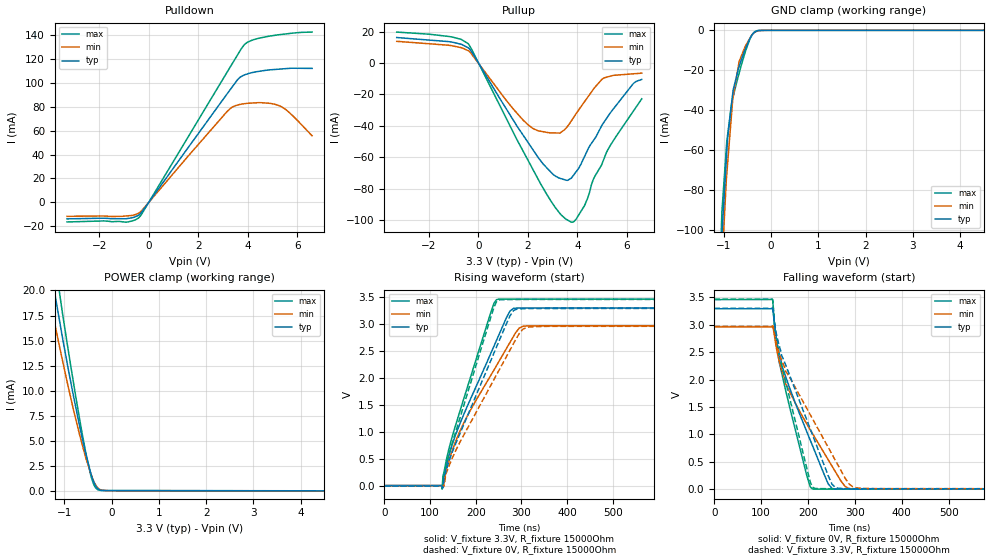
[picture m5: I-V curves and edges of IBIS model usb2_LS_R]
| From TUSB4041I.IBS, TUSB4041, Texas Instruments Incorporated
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|   USB 2.0 Low Speed mode, for DP/DM pin with Rfixture only 750KHz
[Model]   usb2_LS_R
Model_type   I/O
Polarity   Non-Inverting
Enable   Active-High
Vmeas = 1.32V
Vref = 0
Rref = 15000
Cref = 600pF
Vinl = 0.8V
Vinh = 2.0V
|   typ   min   max
|   (nom PVT)   (Fast PVT)   (slow PVT)
C_comp   9.3159pF   9.1524pF   9.4841pF
[Voltage Range]   3.3   2.97   3.465
[Temperature Range]   27   105   -40
[Pullup Reference]   3.3   2.97   3.465
[Pulldown Reference]   0   0   0
[Power Clamp Reference]   3.3   2.97   3.465
[GND Clamp Reference]   0   0   0
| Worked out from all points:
|   slope of the pulldown table from 0 to 0.495 V, typ, clamps not added: 34.7 ohm
|   slope of the pullup table from 0 to 0.495 V, typ, clamps not added: 38.2 ohm
|   GND clamp passes 1 mA (typ) near -0.35 V on its own axis
|   POWER clamp passes 1 mA (typ) near -0.38 V on its own axis
|   falling waveform, V_fixture 0V, R_fixture 15000Ohm: 20-80 % time 81.1ns typ, 101ns min, 53.1ns max; typ from 3.29 V to 0 V
|   rising waveform, V_fixture 3.3V, R_fixture 15000Ohm: 20-80 % time 97.7ns typ, 109ns min, 75.1ns max; typ from 0.008 V to 3.3 V
|   rising waveform, V_fixture 0V, R_fixture 15000Ohm: 20-80 % time 98.3ns typ, 113ns min, 74.9ns max; typ from 0 V to 3.29 V
|   falling waveform, V_fixture 3.3V, R_fixture 15000Ohm: 20-80 % time 86.3ns typ, 111ns min, 56.1ns max; typ from 3.3 V to 0.008 V
[Pulldown]
|   Voltage   I(typ)   I(min)   I(max)
-3.3V     -13.8mA    -11.67mA   -16.38mA
-1.818V   -13.22mA   -11.38mA   -15.5mA
-933.8mV  -13.69mA   -11.39mA   -16.56mA
-393.4mV  -10.5mA    -8.814mA   -12.71mA
3.144V    90.09mA    75.48mA    108.1mA
3.518V    100.7mA    80.99mA    120.9mA
3.716V    105mA      82.04mA    127.7mA
3.979V    107.4mA    82.87mA    133.8mA
4.553V    109.9mA    83.38mA    137.7mA
5.239V    111.4mA    81.15mA    140.2mA
5.684V    112.1mA    75.09mA    141.3mA
6.6V      112.1mA    55.7mA     142.4mA
[GND Clamp]
|   Voltage   I(typ)   I(min)   I(max)
-3.3V     -2.986A    -2.594A    -3.408A
-1.078V   -130.7mA   -136.1mA   -123.1mA
-1.035V   -101.8mA   -116.7mA   -90.38mA
-933.8mV  -60.8mA    -71.89mA   -55.6mA
-917.7mV  -54.32mA   -67.11mA   -52.63mA
-830mV    -36.19mA   -40.99mA   -36.44mA
-800mV    -30mA      -33.29mA   -33.41mA
-672.6mV  -18.05mA   -15.62mA   -21.44mA
-537.4mV  -9.128mA   -7.685mA   -10.37mA
-452.6mV  -4.449mA   -4.267mA   -4.821mA
-311.3mV  -500.4uA   -565.3uA   -312.4uA
6.6V      0A         0A         0A
[Pullup]
|   Voltage   I(typ)   I(min)   I(max)
-3.3V     16.19mA    13.77mA    19.64mA
-422.2mV  9.743mA    7.891mA    12.39mA
1.406V    -36.22mA   -29.18mA   -44.02mA
2.198V    -55mA      -41.55mA   -67.51mA
3.296V    -73.26mA   -44.5mA    -95.68mA
3.744V    -73.22mA   -37.02mA   -101mA
4.291V    -59.28mA   -24.5mA    -90.47mA
4.637V    -49.45mA   -16.86mA   -74.15mA
4.997V    -39.36mA   -10.25mA   -63.91mA
5.347V    -31.31mA   -8.288mA   -51.9mA
6.247V    -13.27mA   -6.876mA   -30.86mA
6.6V      -10.45mA   -6.447mA   -22.73mA
[POWER Clamp]
|   Voltage   I(typ)   I(min)   I(max)
-3.3V     96.14mA    80.42mA    114.3mA
-1.357V   24.07mA    20.31mA    28.32mA
-1.197V   19.63mA    16.62mA    22.94mA
-1.078V   16.4mA     13.92mA    19.06mA
-917.7mV  12.22mA    10.44mA    14.11mA
-762.7mV  8.497mA    7.289mA    9.602mA
-540.3mV  3.645mA    3.234mA    3.714mA
-422.2mV  1.516mA    1.529mA    1.289mA
-358.7mV  704.2uA    786.5uA    480.4uA
-291.5mV  239.5uA    302.9uA    123.9uA
-75.48mV  29.65uA    23.12uA    37.69uA
6.6V      0A         0A         0A
[Ramp]
R_load = 15000
|   typ   min   max
dV/dt_r   1.97483/9.77725e-008   1.77658/1.09368e-007   2.07436/7.50271e-008
dV/dt_f   1.97441/8.12338e-008   1.77599/1.01626e-007   2.07403/5.31391e-008
[Falling Waveform]
V_fixture = 0V
V_fixture_min = 0V
V_fixture_max = 0V
R_fixture = 15000Ohm
C_fixture = 0F
|   Time   V(typ)   V(min)   V(max)
0s        3.291V     2.96V      3.457V
124ns     3.293V     2.964V     3.46V
130.3ns   2.875V     2.696V     2.835V
138.5ns   2.484V     2.343V     2.318V
153.7ns   2.019V     1.895V     1.75V
197.6ns   1.044V     1.186V     240mV
209.3ns   798.1mV    1.018V     3.984mV
251.1ns   13.55mV    420.9mV    73.85uV
287.3ns   -137.7uV   10.64mV    68.96uV
763.1ns   3.774uV    9.494uV    4.745uV
[Rising Waveform]
|Vcc
V_fixture = 3.3V
V_fixture_min = 2.97V
V_fixture_max = 3.465V
R_fixture = 15000Ohm
C_fixture = 0F
|   Time   V(typ)   V(min)   V(max)
0s        7.583mV    8.051mV    6.654mV
126.1ns   9.097mV    7.622mV    -43.05mV
128.3ns   23.29mV    9.478mV    187.2mV
130.8ns   222.3mV    64.18mV    272mV
148.5ns   770.9mV    660.2mV    918.6mV
180.8ns   1.465V     1.285V     1.807V
245.3ns   2.697V     2.229V     3.452V
275.1ns   3.244V     2.663V     3.464V
303.3ns   3.298V     2.96V      3.464V
763.1ns   3.299V     2.969V     3.464V
[Rising Waveform]
V_fixture = 0V
V_fixture_min = 0V
V_fixture_max = 0V
R_fixture = 15000Ohm
C_fixture = 0F
|   Time   V(typ)   V(min)   V(max)
0s        3.743uV    9.417uV    4.73uV
126.1ns   997uV      -506.7uV   -58.29mV
128.3ns   1.896mV    1.083mV    156.3mV
130.8ns   181.6mV    35.32mV    226.1mV
145.2ns   551mV      450.7mV    703.4mV
240.3ns   2.471V     1.979V     3.318V
250.4ns   2.674V     2.136V     3.446V
283.1ns   3.253V     2.645V     3.455V
311.3ns   3.288V     2.939V     3.457V
763.1ns   3.291V     2.96V      3.457V
[Falling Waveform]
|Gnd
V_fixture = 3.3V
V_fixture_min = 2.97V
V_fixture_max = 3.465V
R_fixture = 15000Ohm
C_fixture = 0F
|   Time   V(typ)   V(min)   V(max)
0s        3.299V     2.969V     3.464V
124ns     3.302V     2.973V     3.467V
130.1ns   2.954V     2.769V     2.912V
138.3ns   2.629V     2.483V     2.45V
204.9ns   1.094V     1.355V     128.6mV
213.6ns   900.6mV    1.22V      15.45mV
251.1ns   90.61mV    637.4mV    6.908mV
287.3ns   10.64mV    96.44mV    6.89mV
303.3ns   8.401mV    24.24mV    6.882mV
763.1ns   7.583mV    8.051mV    6.654mV
